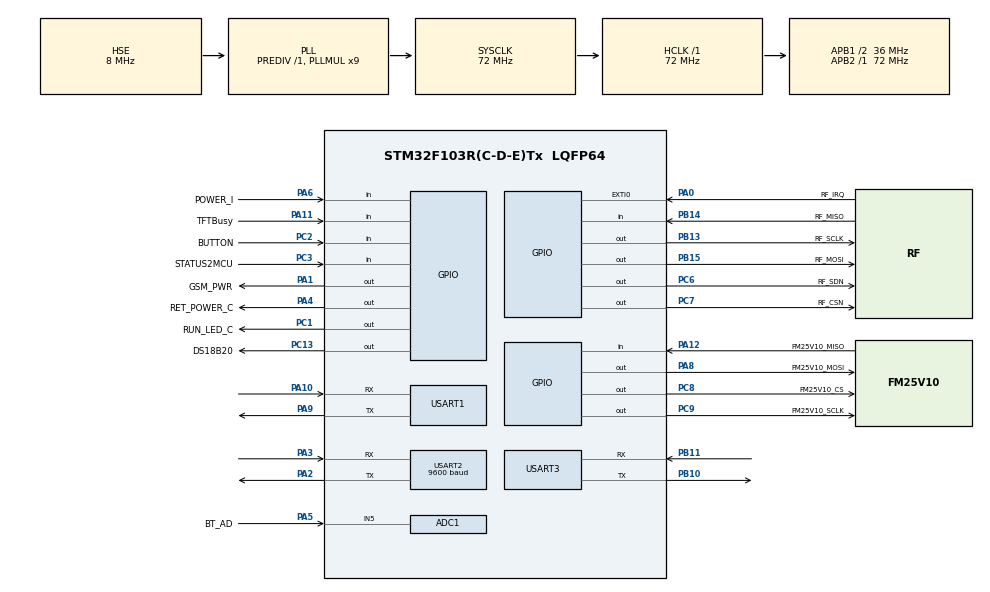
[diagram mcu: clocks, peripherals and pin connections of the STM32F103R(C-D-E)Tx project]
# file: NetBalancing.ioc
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ADC1.Channel-0\#ChannelRegularConversion=ADC_CHANNEL_5
ADC1.ContinuousConvMode=DISABLE
ADC1.DataAlign=ADC_DATAALIGN_RIGHT
ADC1.DiscontinuousConvMode=DISABLE
ADC1.EnableAnalogWatchDog=false
ADC1.EnableRegularConversion=ENABLE
ADC1.ExternalTrigConv=ADC_SOFTWARE_START
ADC1.InjNumberOfConversion=0
ADC1.NbrOfConversion=1
ADC1.NbrOfConversionFlag=1
ADC1.Rank-0\#ChannelRegularConversion=1
ADC1.SamplingTime-0\#ChannelRegularConversion=ADC_SAMPLETIME_55CYCLES_5
ADC1.ScanConvMode=ADC_SCAN_DISABLE
ADC1.master=1
Mcu.Family=STM32F1
Mcu.Name=STM32F103R(C-D-E)Tx
Mcu.Package=LQFP64
NVIC.EXTI0_IRQn=true\:6\:0\:true\:false\:true\:true
NVIC.PriorityGroup=NVIC_PRIORITYGROUP_4
NVIC.USART1_IRQn=true\:0\:0\:false\:false\:true\:true
NVIC.USART2_IRQn=true\:0\:0\:false\:false\:true\:true
NVIC.USART3_IRQn=true\:0\:0\:false\:false\:true\:true
PA0-WKUP.GPIO_Label=RF_IRQ
PA0-WKUP.GPIO_ModeDefaultEXTI=GPIO_MODE_IT_FALLING
PA0-WKUP.Signal=GPXTI0
PA1.GPIO_Label=GSM_PWR
PA1.Signal=GPIO_Output
PA10.Mode=Asynchronous
PA10.Signal=USART1_RX
PA11.GPIO_Label=TFTBusy
PA11.Signal=GPIO_Input
PA12.GPIO_Label=FM25V10_MISO
PA12.Signal=GPIO_Input
PA13.Mode=Serial_Wire
PA13.Signal=SYS_JTMS-SWDIO
PA14.Mode=Serial_Wire
PA14.Signal=SYS_JTCK-SWCLK
PA2.Mode=Asynchronous
PA2.Signal=USART2_TX
PA3.Mode=Asynchronous
PA3.Signal=USART2_RX
PA4.GPIO_Label=RET_POWER_C
PA4.PinState=GPIO_PIN_SET
PA4.Signal=GPIO_Output
PA5.GPIO_Label=BT_AD
PA5.Signal=ADCx_IN5
PA6.GPIO_Label=POWER_I
PA6.Signal=GPIO_Input
PA8.GPIO_Label=FM25V10_MOSI
PA8.GPIO_Speed=GPIO_SPEED_FREQ_HIGH
PA8.Signal=GPIO_Output
PA9.Mode=Asynchronous
PA9.Signal=USART1_TX
PB10.Mode=Asynchronous
PB10.Signal=USART3_TX
PB11.Mode=Asynchronous
PB11.Signal=USART3_RX
PB13.GPIO_Label=RF_SCLK
PB13.Signal=GPIO_Output
PB14.GPIO_Label=RF_MISO
PB14.GPIO_PuPd=GPIO_PULLUP
PB14.Signal=GPIO_Input
PB15.GPIO_Label=RF_MOSI
PB15.Signal=GPIO_Output
PC1.GPIO_Label=RUN_LED_C
PC1.PinState=GPIO_PIN_SET
PC1.Signal=GPIO_Output
PC13-TAMPER-RTC.GPIO_Label=DS18B20
PC13-TAMPER-RTC.GPIO_PuPd=GPIO_PULLUP
PC13-TAMPER-RTC.GPIO_Speed=GPIO_SPEED_FREQ_HIGH
PC13-TAMPER-RTC.PinState=GPIO_PIN_SET
PC13-TAMPER-RTC.Signal=GPIO_Output
PC2.GPIO_Label=BUTTON
PC2.Signal=GPIO_Input
PC3.GPIO_Label=STATUS2MCU
PC3.Signal=GPIO_Input
PC6.GPIO_Label=RF_SDN
PC6.PinState=GPIO_PIN_SET
PC6.Signal=GPIO_Output
PC7.GPIO_Label=RF_CSN
PC7.GPIO_Speed=GPIO_SPEED_FREQ_LOW
PC7.PinState=GPIO_PIN_SET
PC7.Signal=GPIO_Output
PC8.GPIO_Label=FM25V10_CS
PC8.GPIO_Speed=GPIO_SPEED_FREQ_LOW
PC8.Signal=GPIO_Output
PC9.GPIO_Label=FM25V10_SCLK
PC9.GPIO_Speed=GPIO_SPEED_FREQ_HIGH
PC9.Signal=GPIO_Output
PD0-OSC_IN.Mode=HSE-External-Oscillator
PD0-OSC_IN.Signal=RCC_OSC_IN
PD1-OSC_OUT.Mode=HSE-External-Oscillator
PD1-OSC_OUT.Signal=RCC_OSC_OUT
ProjectManager.HeapSize=0x200
ProjectManager.StackSize=0x400
ProjectManager.TargetToolchain=Other Toolchains (GPDSC)
RCC.ADCPresc=RCC_ADCPCLK2_DIV6
RCC.AHBFreq_Value=72000000
RCC.APB1CLKDivider=RCC_HCLK_DIV2
RCC.APB1Freq_Value=36000000
RCC.APB1TimFreq_Value=72000000
RCC.APB2Freq_Value=72000000
RCC.APB2TimFreq_Value=72000000
RCC.HCLKFreq_Value=72000000
RCC.PLLMUL=RCC_PLL_MUL9
RCC.PLLSourceVirtual=RCC_PLLSOURCE_HSE
RCC.SYSCLKFreq_VALUE=72000000
RCC.SYSCLKSource=RCC_SYSCLKSOURCE_PLLCLK
RCC.USBFreq_Value=72000000
SH.ADCx_IN5.0=ADC1_IN5,IN5
USART1.VirtualMode=VM_ASYNC
USART2.BaudRate=9600
USART2.VirtualMode=VM_ASYNC
USART3.VirtualMode=VM_ASYNC
VP_ADC1_Vref_Input.Mode=IN-Vrefint
board=NetBalancing

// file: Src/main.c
/**
  ******************************************************************************
  * @file           : main.c
  * @brief          : Main program body
  ******************************************************************************
  ** This notice applies to any and all portions of this file
  * that are not between comment pairs USER CODE BEGIN and
  * USER CODE END. Other portions of this file, whether
  * inserted by the user or by software development tools
  * are owned by their respective copyright owners.
  *
  * COPYRIGHT(c) 2018 STMicroelectronics
  *
  * Redistribution and use in source and binary forms, with or without modification,
  * are permitted provided that the following conditions are met:
  *   1. Redistributions of source code must retain the above copyright notice,
  *      this list of conditions and the following disclaimer.
  *   2. Redistributions in binary form must reproduce the above copyright notice,
  *      this list of conditions and the following disclaimer in the documentation
  *      and/or other materials provided with the distribution.
  *   3. Neither the name of STMicroelectronics nor the names of its contributors
  *      may be used to endorse or promote products derived from this software
  *      without specific prior written permission.
  *
  * THIS SOFTWARE IS PROVIDED BY THE COPYRIGHT HOLDERS AND CONTRIBUTORS "AS IS"
  * AND ANY EXPRESS OR IMPLIED WARRANTIES, INCLUDING, BUT NOT LIMITED TO, THE
  * IMPLIED WARRANTIES OF MERCHANTABILITY AND FITNESS FOR A PARTICULAR PURPOSE ARE
  * DISCLAIMED. IN NO EVENT SHALL THE COPYRIGHT HOLDER OR CONTRIBUTORS BE LIABLE
  * FOR ANY DIRECT, INDIRECT, INCIDENTAL, SPECIAL, EXEMPLARY, OR CONSEQUENTIAL
  * DAMAGES (INCLUDING, BUT NOT LIMITED TO, PROCUREMENT OF SUBSTITUTE GOODS OR
  * SERVICES; LOSS OF USE, DATA, OR PROFITS; OR BUSINESS INTERRUPTION) HOWEVER
  * CAUSED AND ON ANY THEORY OF LIABILITY, WHETHER IN CONTRACT, STRICT LIABILITY,
  * OR TORT (INCLUDING NEGLIGENCE OR OTHERWISE) ARISING IN ANY WAY OUT OF THE USE
  * OF THIS SOFTWARE, EVEN IF ADVISED OF THE POSSIBILITY OF SUCH DAMAGE.
  *
  ******************************************************************************
  */
#include "main.h"
#include "stm32f1xx_hal.h"
#include "adc.h"
#include "usart.h"
#include "gpio.h"

/* USER CODE BEGIN Includes */
#include "Si4463.h"
#include "ATCommand.h"
#include "CP1616_Client.h"
#include "..\wf\VisualTFT\cmd_queue.h"
#include "..\wf\VisualTFT\cmd_process.h"
#include "TFTWorkProc.h"
#include "WirelessProc.h"
#include "WorkMode_RealTime.h"
#include "WithPC.h"
#include "wfUart.h"
#include "FRAM.h"
#include "WorkMode_Setting.h"
#include "DS18x20.h"
/* USER CODE END Includes */

/* USER CODE BEGIN PV */

/* Private variables ---------------------------------------------------------*/
_gFlags gFlags;
uint32_t SystemSleepTick;
uint32_t SleepSecond;
uint32_t SleepSecondMax;
uint32_t LEDTick;
uint32_t ADTick;
extern void ReadBATV(void);
/* USER CODE END PV */

void SystemClock_Config(void);

/* USER CODE BEGIN PFP */
/* Private function prototypes -----------------------------------------------*/

/* USER CODE END PFP */

int main(void)
{
  /* USER CODE BEGIN 1 */
	uint32_t x;
  /* USER CODE END 1 */

  /* MCU Configuration----------------------------------------------------------*/

  /* Reset of all peripherals, Initializes the Flash interface and the Systick. */
  HAL_Init();

  /* Configure the system clock */
  SystemClock_Config();

  /* Initialize all configured peripherals */
  MX_GPIO_Init();
  MX_USART1_UART_Init();
  MX_USART2_UART_Init();
  MX_USART3_UART_Init();
  MX_ADC1_Init();
  /* USER CODE BEGIN 2 */
  wfDelay_init(72);
  SimSPI2_Init();
  Si4463_Init();
  WirelessOff();
  ATCommand_Init();
  CP1616_Client_Init();
  /* USER CODE END 2 */

  /* Infinite loop */
  /* USER CODE BEGIN WHILE */
//   while(1)
//   {
// 	  DS18X20_StartMeas();
// 	  HAL_Delay(1000);
// 	  DS18X20_ReadMeas(1);
//   }
  while(HAL_UART_Receive_IT(&huart1,&huart1Rx,1)==HAL_OK);
  while(HAL_UART_Receive_IT(&huart2,&huart2Rx,1)==HAL_OK);
  while(HAL_UART_Receive_IT(&huart3,&huart3Rx,1)==HAL_OK);
  ResetTFT();
  FRAM_GetROMParams();
  WorkMode_RealTimeUIInit();
  Setting_UIInit();
  ReadBATV();
  while(HAL_GPIO_ReadPin(POWER_I_GPIO_Port,POWER_I_Pin)==GPIO_PIN_RESET);
  while (1)
  {
	  /************************************************************************/
	  /* 休眠判断                                                             */
	  /************************************************************************/
	  if(GetDeltaTick(SystemSleepTick)>1000)
	  {
		  SystemSleepTick=HAL_GetTick();
		  SleepSecond++;
		  if(SleepSecond>=SleepSecondMax)
		  {
			  HAL_GPIO_WritePin(RET_POWER_C_GPIO_Port,RET_POWER_C_Pin,GPIO_PIN_RESET);
			  while(1);
		  }
	  }
	  /************************************************************************/
	  /* LED运行灯                                                            */
	  /************************************************************************/
	  if(gFlags.bRealTime)
	  {
		  if(GetDeltaTick(LEDTick)>1000)
		  {
			  HAL_GPIO_TogglePin(RUN_LED_C_GPIO_Port,RUN_LED_C_Pin);
			  LEDTick=HAL_GetTick();
		  }
	  }
	  /************************************************************************/
	  /* 开关机判断                                                                     */
	  /************************************************************************/
  	  if(HAL_GPIO_ReadPin(POWER_I_GPIO_Port,POWER_I_Pin)==GPIO_PIN_RESET)
  	  {
  		  x=0;
   		  while(1)
   		  {
   			  HAL_Delay(20);
   			  x++;
   			  if(x>50)
   			  {
   				  HAL_GPIO_WritePin(RET_POWER_C_GPIO_Port,RET_POWER_C_Pin,GPIO_PIN_RESET);
   				  while(1)
 				  {
 					  SetScreen(33);
 					  HAL_Delay(2000);
 				  }
   			  }
   			  if(HAL_GPIO_ReadPin(POWER_I_GPIO_Port,POWER_I_Pin)==GPIO_PIN_SET)
   			  {
   				  break;
   			  }
   		  }
  	  }
	  /************************************************************************/
	  /* 每秒采集AD，更新系统电量                                             */
	  /************************************************************************/
	  if(GetDeltaTick(ADTick)>1000)
	  {
		  ReadBATV();
		  ADTick=HAL_GetTick();
	  }
	  /************************************************************************/
	  /* 触摸屏交互处理                                                       */
	  /************************************************************************/
	  TFTRxCheck();
	  /************************************************************************/
	  /* 与电脑连接处理                                                       */
	  /************************************************************************/
	  if(CP1616_Client_Flags.Bits.bRx)
	  {
		  ProcCommandFromPC();
		  CP1616_Client_Flags.Bits.bRx=0;
	  }
	  /************************************************************************/
	  /* 收到新传感器数据处理                                                 */
	  /************************************************************************/
	  if(gFlags.bNewSensorData)
	  {
		  WorkMode_RealTimeProc();
		  gFlags.bNewSensorData=0;
	  }
  /* USER CODE END WHILE */

  }

}

void SystemClock_Config(void)
{

  RCC_OscInitTypeDef RCC_OscInitStruct;
  RCC_ClkInitTypeDef RCC_ClkInitStruct;
  RCC_PeriphCLKInitTypeDef PeriphClkInit;

    /**Initializes the CPU, AHB and APB busses clocks
    */
  RCC_OscInitStruct.OscillatorType = RCC_OSCILLATORTYPE_HSE;
  RCC_OscInitStruct.HSEState = RCC_HSE_ON;
  RCC_OscInitStruct.HSEPredivValue = RCC_HSE_PREDIV_DIV1;
  RCC_OscInitStruct.HSIState = RCC_HSI_ON;
  RCC_OscInitStruct.PLL.PLLState = RCC_PLL_ON;
  RCC_OscInitStruct.PLL.PLLSource = RCC_PLLSOURCE_HSE;
  RCC_OscInitStruct.PLL.PLLMUL = RCC_PLL_MUL9;
  if (HAL_RCC_OscConfig(&RCC_OscInitStruct) != HAL_OK)
  {
    _Error_Handler(__FILE__, __LINE__);
  }

    /**Initializes the CPU, AHB and APB busses clocks
    */
  RCC_ClkInitStruct.ClockType = RCC_CLOCKTYPE_HCLK|RCC_CLOCKTYPE_SYSCLK
                              |RCC_CLOCKTYPE_PCLK1|RCC_CLOCKTYPE_PCLK2;
  RCC_ClkInitStruct.SYSCLKSource = RCC_SYSCLKSOURCE_PLLCLK;
  RCC_ClkInitStruct.AHBCLKDivider = RCC_SYSCLK_DIV1;
  RCC_ClkInitStruct.APB1CLKDivider = RCC_HCLK_DIV2;
  RCC_ClkInitStruct.APB2CLKDivider = RCC_HCLK_DIV1;

  if (HAL_RCC_ClockConfig(&RCC_ClkInitStruct, FLASH_LATENCY_2) != HAL_OK)
  {
    _Error_Handler(__FILE__, __LINE__);
  }

  PeriphClkInit.PeriphClockSelection = RCC_PERIPHCLK_ADC;
  PeriphClkInit.AdcClockSelection = RCC_ADCPCLK2_DIV6;
  if (HAL_RCCEx_PeriphCLKConfig(&PeriphClkInit) != HAL_OK)
  {
    _Error_Handler(__FILE__, __LINE__);
  }

    /**Configure the Systick interrupt time
    */
  HAL_SYSTICK_Config(HAL_RCC_GetHCLKFreq()/1000);

    /**Configure the Systick
    */
  HAL_SYSTICK_CLKSourceConfig(SYSTICK_CLKSOURCE_HCLK);

  /* SysTick_IRQn interrupt configuration */
  HAL_NVIC_SetPriority(SysTick_IRQn, 0, 0);
}

void _Error_Handler(char *file, int line)
{
  while(1)
  {
  }
}

/************************ (C) COPYRIGHT STMicroelectronics *****END OF FILE****/
